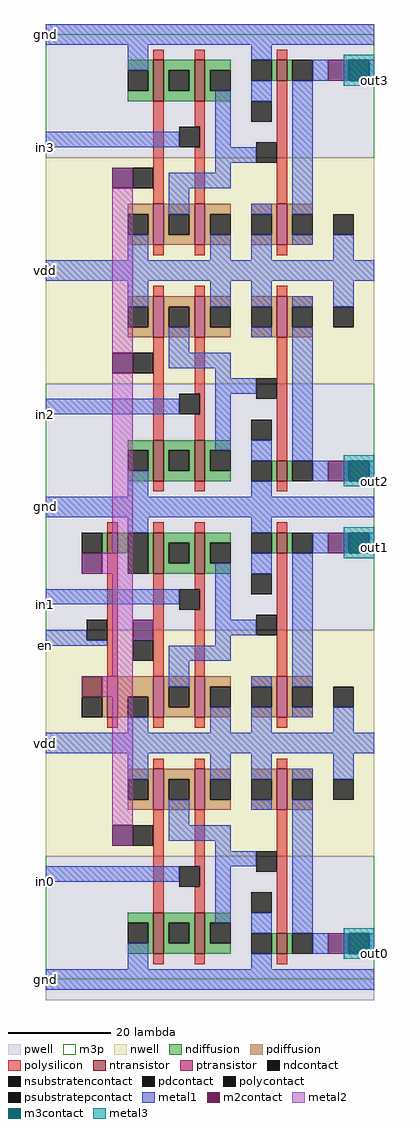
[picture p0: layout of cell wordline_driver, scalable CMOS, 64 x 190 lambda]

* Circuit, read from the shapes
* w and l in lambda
.subckt wordline_driver en gnd in0 in1 in2 in3 out0 out1 out2 out3 vdd
M1 gnd en n1 gnd nfet w=4 l=2
M2 n2 n1 gnd gnd nfet w=8 l=2
M3 n3 n1 gnd gnd nfet w=8 l=2
M4 n4 n1 gnd gnd nfet w=8 l=2
M5 n5 n1 gnd gnd nfet w=8 l=2
M6 n6 in0 n2 gnd nfet w=8 l=2
M7 n7 in1 n3 gnd nfet w=8 l=2
M8 n8 in2 n4 gnd nfet w=8 l=2
M9 n9 in3 n5 gnd nfet w=8 l=2
M10 out0 n6 gnd gnd nfet w=4 l=2
M11 out1 n7 gnd gnd nfet w=4 l=2
M12 out2 n8 gnd gnd nfet w=4 l=2
M13 out3 n9 gnd gnd nfet w=4 l=2
M14 vdd en n1 vdd pfet w=8 l=2
M15 n6 n1 vdd vdd pfet w=8 l=2
M16 n7 n1 vdd vdd pfet w=8 l=2
M17 n8 n1 vdd vdd pfet w=8 l=2
M18 n9 n1 vdd vdd pfet w=8 l=2
M19 vdd in0 n6 vdd pfet w=8 l=2
M20 vdd in1 n7 vdd pfet w=8 l=2
M21 vdd in2 n8 vdd pfet w=8 l=2
M22 vdd in3 n9 vdd pfet w=8 l=2
M23 out0 n6 vdd vdd pfet w=8 l=2
M24 out1 n7 vdd vdd pfet w=8 l=2
M25 out2 n8 vdd vdd pfet w=8 l=2
M26 out3 n9 vdd vdd pfet w=8 l=2
.ends

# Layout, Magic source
magic
tech scmos
<< nwell >>
rect 0 116 64 160
rect 0 24 64 68
<< pwell >>
rect 0 160 64 186
rect 0 68 64 116
rect 0 -4 64 24
<< ntransistor >>
rect 21 171 23 179
rect 29 171 31 179
rect 45 175 47 179
rect 21 97 23 105
rect 29 97 31 105
rect 45 97 47 101
rect 12 83 14 87
rect 21 79 23 87
rect 29 79 31 87
rect 45 83 47 87
rect 21 5 23 13
rect 29 5 31 13
rect 45 5 47 9
<< ptransistor >>
rect 21 143 23 151
rect 29 143 31 151
rect 45 143 47 151
rect 21 125 23 133
rect 29 125 31 133
rect 45 125 47 133
rect 12 51 14 59
rect 21 51 23 59
rect 29 51 31 59
rect 45 51 47 59
rect 21 33 23 41
rect 29 33 31 41
rect 45 33 47 41
<< ndiffusion >>
rect 16 177 21 179
rect 20 173 21 177
rect 16 171 21 173
rect 23 177 29 179
rect 23 173 24 177
rect 28 173 29 177
rect 23 171 29 173
rect 31 177 36 179
rect 31 173 32 177
rect 44 175 45 179
rect 47 175 48 179
rect 31 171 36 173
rect 16 103 21 105
rect 20 99 21 103
rect 16 97 21 99
rect 23 103 29 105
rect 23 99 24 103
rect 28 99 29 103
rect 23 97 29 99
rect 31 103 36 105
rect 31 99 32 103
rect 31 97 36 99
rect 44 97 45 101
rect 47 97 48 101
rect 11 83 12 87
rect 14 83 16 87
rect 20 79 21 87
rect 23 85 29 87
rect 23 81 24 85
rect 28 81 29 85
rect 23 79 29 81
rect 31 85 36 87
rect 31 81 32 85
rect 44 83 45 87
rect 47 83 48 87
rect 31 79 36 81
rect 16 11 21 13
rect 20 7 21 11
rect 16 5 21 7
rect 23 11 29 13
rect 23 7 24 11
rect 28 7 29 11
rect 23 5 29 7
rect 31 11 36 13
rect 31 7 32 11
rect 31 5 36 7
rect 44 5 45 9
rect 47 5 48 9
<< pdiffusion >>
rect 16 149 21 151
rect 20 145 21 149
rect 16 143 21 145
rect 23 149 29 151
rect 23 145 24 149
rect 28 145 29 149
rect 23 143 29 145
rect 31 149 36 151
rect 31 145 32 149
rect 31 143 36 145
rect 40 149 45 151
rect 44 145 45 149
rect 40 143 45 145
rect 47 149 52 151
rect 47 145 48 149
rect 47 143 52 145
rect 16 131 21 133
rect 20 127 21 131
rect 16 125 21 127
rect 23 131 29 133
rect 23 127 24 131
rect 28 127 29 131
rect 23 125 29 127
rect 31 131 36 133
rect 31 127 32 131
rect 31 125 36 127
rect 40 131 45 133
rect 44 127 45 131
rect 40 125 45 127
rect 47 131 52 133
rect 47 127 48 131
rect 47 125 52 127
rect 7 55 12 59
rect 11 51 12 55
rect 14 55 21 59
rect 14 51 16 55
rect 20 51 21 55
rect 23 57 29 59
rect 23 53 24 57
rect 28 53 29 57
rect 23 51 29 53
rect 31 57 36 59
rect 31 53 32 57
rect 31 51 36 53
rect 40 57 45 59
rect 44 53 45 57
rect 40 51 45 53
rect 47 57 52 59
rect 47 53 48 57
rect 47 51 52 53
rect 16 39 21 41
rect 20 35 21 39
rect 16 33 21 35
rect 23 39 29 41
rect 23 35 24 39
rect 28 35 29 39
rect 23 33 29 35
rect 31 39 36 41
rect 31 35 32 39
rect 31 33 36 35
rect 40 39 45 41
rect 44 35 45 39
rect 40 33 45 35
rect 47 39 52 41
rect 47 35 48 39
rect 47 33 52 35
<< ndcontact >>
rect 16 173 20 177
rect 24 173 28 177
rect 32 173 36 177
rect 40 175 44 179
rect 48 175 52 179
rect 16 99 20 103
rect 24 99 28 103
rect 32 99 36 103
rect 40 97 44 101
rect 48 97 52 101
rect 7 83 11 87
rect 16 79 20 87
rect 24 81 28 85
rect 32 81 36 85
rect 40 83 44 87
rect 48 83 52 87
rect 16 7 20 11
rect 24 7 28 11
rect 32 7 36 11
rect 40 5 44 9
rect 48 5 52 9
<< pdcontact >>
rect 16 145 20 149
rect 24 145 28 149
rect 32 145 36 149
rect 40 145 44 149
rect 48 145 52 149
rect 16 127 20 131
rect 24 127 28 131
rect 32 127 36 131
rect 40 127 44 131
rect 48 127 52 131
rect 7 51 11 55
rect 16 51 20 55
rect 24 53 28 57
rect 32 53 36 57
rect 40 53 44 57
rect 48 53 52 57
rect 16 35 20 39
rect 24 35 28 39
rect 32 35 36 39
rect 40 35 44 39
rect 48 35 52 39
<< psubstratepcontact >>
rect 40 167 44 171
rect 40 105 44 109
rect 40 75 44 79
rect 40 13 44 17
<< nsubstratencontact >>
rect 56 145 60 149
rect 56 127 60 131
rect 56 53 60 57
rect 56 35 60 39
<< polysilicon >>
rect 21 179 23 181
rect 29 179 31 181
rect 45 179 47 181
rect 21 151 23 171
rect 29 166 31 171
rect 30 162 31 166
rect 29 151 31 162
rect 45 151 47 175
rect 21 141 23 143
rect 29 141 31 143
rect 45 141 47 143
rect 21 133 23 135
rect 29 133 31 135
rect 45 133 47 135
rect 21 105 23 125
rect 29 114 31 125
rect 30 110 31 114
rect 29 105 31 110
rect 45 101 47 125
rect 21 95 23 97
rect 29 95 31 97
rect 45 95 47 97
rect 12 87 14 89
rect 21 87 23 89
rect 29 87 31 89
rect 45 87 47 89
rect 12 59 14 83
rect 21 59 23 79
rect 29 76 31 79
rect 30 72 31 76
rect 29 59 31 72
rect 45 59 47 83
rect 12 49 14 51
rect 21 49 23 51
rect 29 49 31 51
rect 45 49 47 51
rect 21 41 23 43
rect 29 41 31 43
rect 45 41 47 43
rect 21 13 23 33
rect 29 22 31 33
rect 30 18 31 22
rect 29 13 31 18
rect 45 9 47 33
rect 21 3 23 5
rect 29 3 31 5
rect 45 3 47 5
<< polycontact >>
rect 17 154 21 158
rect 26 162 30 166
rect 41 159 45 163
rect 17 118 21 122
rect 26 110 30 114
rect 41 113 45 117
rect 8 66 12 70
rect 17 62 21 66
rect 26 72 30 76
rect 41 67 45 71
rect 17 26 21 30
rect 26 18 30 22
rect 41 21 45 25
<< metal1 >>
rect 0 182 64 186
rect 16 177 20 182
rect 40 179 44 182
rect 0 162 26 165
rect 33 162 36 173
rect 40 171 44 175
rect 52 175 55 179
rect 59 175 64 179
rect 33 159 41 162
rect 33 157 36 159
rect 24 154 36 157
rect 24 149 28 154
rect 40 149 44 151
rect 16 140 20 145
rect 32 140 36 145
rect 40 140 44 145
rect 48 149 52 175
rect 48 143 52 145
rect 56 140 60 145
rect 0 136 64 140
rect 16 131 20 136
rect 32 131 36 136
rect 40 131 44 136
rect 24 122 28 127
rect 40 125 44 127
rect 48 131 52 133
rect 56 131 60 136
rect 24 119 36 122
rect 33 117 36 119
rect 33 114 41 117
rect 0 110 26 113
rect 33 103 36 114
rect 40 101 44 105
rect 16 94 20 99
rect 48 101 52 127
rect 52 97 55 101
rect 59 97 64 101
rect 40 94 44 97
rect 0 90 64 94
rect 16 87 20 90
rect 40 87 44 90
rect 0 73 26 76
rect 33 70 36 81
rect 40 79 44 83
rect 52 83 55 87
rect 59 83 64 87
rect 0 66 8 68
rect 0 65 12 66
rect 33 67 41 70
rect 33 65 36 67
rect 24 62 36 65
rect 24 57 28 62
rect 40 57 44 59
rect 16 48 20 51
rect 32 48 36 53
rect 40 48 44 53
rect 48 57 52 83
rect 48 51 52 53
rect 56 48 60 53
rect 0 44 64 48
rect 16 39 20 44
rect 32 39 36 44
rect 40 39 44 44
rect 24 30 28 35
rect 40 33 44 35
rect 48 39 52 41
rect 56 39 60 44
rect 24 27 36 30
rect 33 25 36 27
rect 33 22 41 25
rect 0 19 26 22
rect 33 11 36 22
rect 40 9 44 13
rect 16 2 20 7
rect 48 9 52 35
rect 52 5 55 9
rect 59 5 64 9
rect 40 2 44 5
rect 0 -2 64 2
<< m2contact >>
rect 55 175 59 179
rect 13 154 17 158
rect 13 118 17 122
rect 55 97 59 101
rect 7 79 11 83
rect 55 83 59 87
rect 17 66 21 70
rect 7 55 11 59
rect 13 26 17 30
rect 55 5 59 9
<< metal2 >>
rect 13 122 17 154
rect 13 83 17 118
rect 11 79 17 83
rect 13 59 17 79
rect 11 55 17 59
rect 13 30 17 55
<< m3contact >>
rect 59 175 63 179
rect 59 97 63 101
rect 59 83 63 87
rect 59 5 63 9
<< metal3 >>
rect 58 179 64 180
rect 58 175 59 179
rect 63 175 64 179
rect 58 174 64 175
rect 58 101 64 102
rect 58 97 59 101
rect 63 97 64 101
rect 58 96 64 97
rect 58 87 64 88
rect 58 83 59 87
rect 63 83 64 87
rect 58 82 64 83
rect 58 9 64 10
rect 58 5 59 9
rect 63 5 64 9
rect 58 4 64 5
<< m3p >>
rect 0 0 64 184
<< labels >>
rlabel metal1 64 5 64 5 7 out0
rlabel metal1 64 84 64 84 1 out1
rlabel metal1 64 97 64 97 7 out2
rlabel metal1 64 175 64 175 7 out3
rlabel metal1 0 162 0 162 3 in3
rlabel metal1 0 184 0 184 2 gnd
rlabel metal1 0 138 0 138 2 vdd
rlabel metal1 0 110 0 110 3 in2
rlabel metal1 0 46 0 46 2 vdd
rlabel metal1 0 19 0 19 3 in0
rlabel metal1 0 0 0 0 6 gnd
rlabel metal1 0 92 0 92 4 gnd
rlabel metal1 0 73 0 73 3 in1
rlabel metal1 0 65 0 65 3 en
<< end >>
